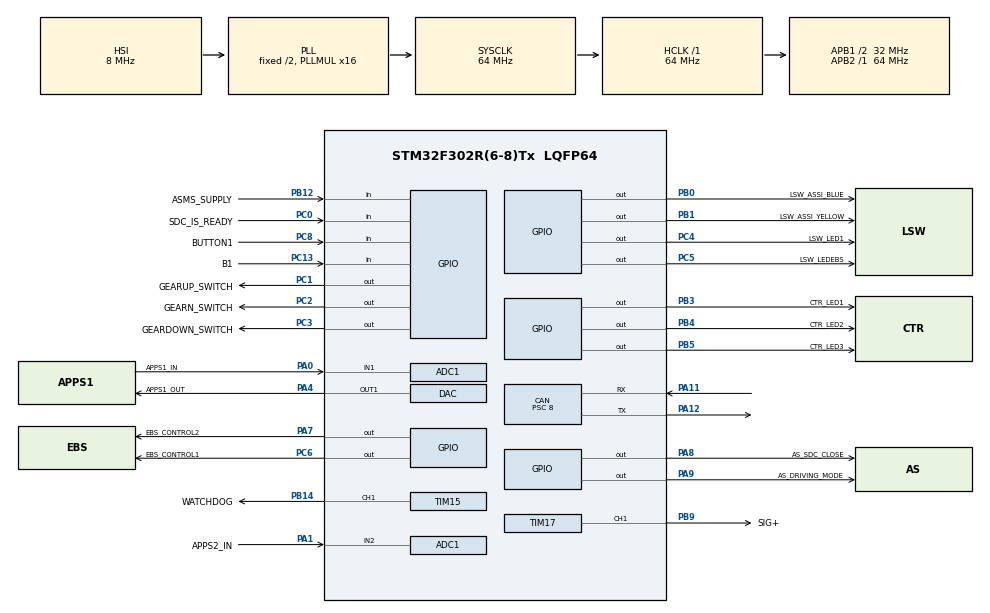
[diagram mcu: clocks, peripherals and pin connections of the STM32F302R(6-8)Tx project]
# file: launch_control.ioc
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ADC1.Channel-0\#ChannelRegularConversion=ADC_CHANNEL_1
ADC1.Channel-1\#ChannelRegularConversion=ADC_CHANNEL_2
ADC1.ContinuousConvMode=ENABLE
ADC1.DMAContinuousRequests=ENABLE
ADC1.NbrOfConversion=2
ADC1.NbrOfConversionFlag=1
ADC1.Offset-0\#ChannelRegularConversion=0
ADC1.Offset-1\#ChannelRegularConversion=0
ADC1.OffsetNumber-0\#ChannelRegularConversion=ADC_OFFSET_NONE
ADC1.OffsetNumber-1\#ChannelRegularConversion=ADC_OFFSET_NONE
ADC1.Rank-0\#ChannelRegularConversion=1
ADC1.Rank-1\#ChannelRegularConversion=2
ADC1.Resolution=ADC_RESOLUTION_12B
ADC1.SamplingTime-0\#ChannelRegularConversion=ADC_SAMPLETIME_61CYCLES_5
ADC1.SamplingTime-1\#ChannelRegularConversion=ADC_SAMPLETIME_61CYCLES_5
ADC1.SequencerNbRanks=1
ADC1.SubFamily=STM32F302x8
ADC1.master=1
CAN.BS1=CAN_BS1_2TQ
CAN.CalculateBaudRate=1000000
CAN.CalculateTimeBit=1000
CAN.CalculateTimeQuantum=250.0
CAN.Prescaler=8
DAC.DAC_Trigger=DAC_TRIGGER_T2_TRGO
Dma.ADC1.1.Direction=DMA_PERIPH_TO_MEMORY
Dma.ADC1.1.Instance=DMA1_Channel1
Dma.ADC1.1.MemDataAlignment=DMA_MDATAALIGN_WORD
Dma.ADC1.1.MemInc=DMA_MINC_ENABLE
Dma.ADC1.1.Mode=DMA_CIRCULAR
Dma.ADC1.1.PeriphDataAlignment=DMA_PDATAALIGN_WORD
Dma.ADC1.1.PeriphInc=DMA_PINC_DISABLE
Dma.ADC1.1.Priority=DMA_PRIORITY_LOW
Dma.DAC_CH1.0.Direction=DMA_MEMORY_TO_PERIPH
Dma.DAC_CH1.0.Instance=DMA1_Channel3
Dma.DAC_CH1.0.MemDataAlignment=DMA_MDATAALIGN_WORD
Dma.DAC_CH1.0.MemInc=DMA_MINC_ENABLE
Dma.DAC_CH1.0.Mode=DMA_CIRCULAR
Dma.DAC_CH1.0.PeriphDataAlignment=DMA_PDATAALIGN_WORD
Dma.DAC_CH1.0.PeriphInc=DMA_PINC_DISABLE
Dma.DAC_CH1.0.Priority=DMA_PRIORITY_LOW
Dma.Request0=DAC_CH1
Dma.Request1=ADC1
Mcu.Family=STM32F3
Mcu.Name=STM32F302R(6-8)Tx
Mcu.Package=LQFP64
NVIC.ADC1_IRQn=true\:0\:0\:false\:false\:true\:true\:true\:true
NVIC.DMA1_Channel1_IRQn=true\:0\:0\:false\:false\:true\:false\:true\:true
NVIC.DMA1_Channel3_IRQn=true\:0\:0\:false\:false\:true\:false\:true\:true
NVIC.PriorityGroup=NVIC_PRIORITYGROUP_4
PA0.GPIO_Label=APPS1_IN
PA0.Mode=IN1-Single-Ended
PA0.Signal=ADC1_IN1
PA1.GPIO_Label=APPS2_IN
PA1.Mode=IN2-Single-Ended
PA1.Signal=ADC1_IN2
PA11.GPIO_PuPd=GPIO_PULLDOWN
PA11.Mode=CAN_Activate
PA11.Signal=CAN_RX
PA12.Mode=CAN_Activate
PA12.Signal=CAN_TX
PA4.GPIO_Label=APPS1_OUT
PA4.Signal=COMP_DAC1_group
PA7.GPIO_Label=EBS_CONTROL2
PA7.Signal=GPIO_Output
PA8.GPIO_Label=AS_SDC_CLOSE
PA8.PinState=GPIO_PIN_SET
PA8.Signal=GPIO_Output
PA9.GPIO_Label=AS_DRIVING_MODE
PA9.Signal=GPIO_Output
PB0.GPIO_Label=LSW_ASSI_BLUE
PB0.GPIO_PuPd=GPIO_NOPULL
PB0.PinState=GPIO_PIN_SET
PB0.Signal=GPIO_Output
PB1.GPIO_Label=LSW_ASSI_YELLOW
PB1.GPIO_ModeDefaultOutputPP=GPIO_MODE_OUTPUT_PP
PB1.GPIO_PuPd=GPIO_NOPULL
PB1.PinState=GPIO_PIN_SET
PB1.Signal=GPIO_Output
PB12.GPIO_Label=ASMS_SUPPLY
PB12.Signal=GPIO_Input
PB14.GPIO_Label=WATCHDOG
PB14.Signal=S_TIM15_CH1
PB3.GPIO_Label=CTR_LED1
PB3.GPIO_ModeDefaultOutputPP=GPIO_MODE_OUTPUT_PP
PB3.GPIO_PuPd=GPIO_PULLDOWN
PB3.PinState=GPIO_PIN_SET
PB3.Signal=GPIO_Output
PB4.GPIO_Label=CTR_LED2
PB4.GPIO_ModeDefaultOutputPP=GPIO_MODE_OUTPUT_PP
PB4.GPIO_PuPd=GPIO_PULLDOWN
PB4.PinState=GPIO_PIN_SET
PB4.Signal=GPIO_Output
PB5.GPIO_Label=CTR_LED3
PB5.GPIO_ModeDefaultOutputPP=GPIO_MODE_OUTPUT_PP
PB5.GPIO_PuPd=GPIO_NOPULL
PB5.PinState=GPIO_PIN_SET
PB5.Signal=GPIO_Output
PB9.GPIO_Label=SIG+
PB9.Signal=S_TIM17_CH1
PC0.GPIO_Label=SDC_IS_READY
PC0.Signal=GPIO_Input
PC1.GPIO_Label=GEARUP_SWITCH
PC1.Signal=GPIO_Output
PC13.GPIO_Label=B1
PC13.GPIO_PuPd=GPIO_PULLDOWN
PC13.Signal=GPIO_Input
PC2.GPIO_Label=GEARN_SWITCH
PC2.PinState=GPIO_PIN_RESET
PC2.Signal=GPIO_Output
PC3.GPIO_Label=GEARDOWN_SWITCH
PC3.Signal=GPIO_Output
PC4.GPIO_Label=LSW_LED1
PC4.GPIO_PuPd=GPIO_PULLDOWN
PC4.Signal=GPIO_Output
PC5.GPIO_Label=LSW_LEDEBS
PC5.GPIO_PuPd=GPIO_PULLDOWN
PC5.Signal=GPIO_Output
PC6.GPIO_Label=EBS_CONTROL1
PC6.Signal=GPIO_Output
PC8.GPIO_Label=BUTTON1
PC8.Signal=GPIO_Input
ProjectManager.HeapSize=0x200
ProjectManager.StackSize=0x400
ProjectManager.TargetToolchain=STM32CubeIDE
RCC.ADC12PRES=RCC_ADC1PLLCLK_DIV64
RCC.AHBFreq_Value=64000000
RCC.APB1CLKDivider=RCC_HCLK_DIV2
RCC.APB1Freq_Value=32000000
RCC.APB1TimFreq_Value=64000000
RCC.APB2Freq_Value=64000000
RCC.APB2TimFreq_Value=64000000
RCC.CortexFreq_Value=64000000
RCC.HCLKFreq_Value=64000000
RCC.HSE_VALUE=8000000
RCC.HSI_VALUE=8000000
RCC.LSE_VALUE=32768
RCC.PLLMUL=RCC_PLL_MUL16
RCC.SYSCLKFreq_VALUE=64000000
RCC.SYSCLKSourceVirtual=RCC_SYSCLKSOURCE_PLLCLK
RCC.USBFreq_Value=64000000
SH.COMP_DAC1_group.0=DAC_OUT1,DAC_OUT1
SH.S_TIM15_CH1.0=TIM15_CH1,PWM Generation1 CH1
SH.S_TIM17_CH1.0=TIM17_CH1,PWM Generation1 CH1
TIM15.Channel-PWM\ Generation1\ CH1=TIM_CHANNEL_1
TIM15.Period=20-1
TIM15.Prescaler=64000-1
TIM15.Pulse-PWM\ Generation1\ CH1=50
TIM16.Period=50-1
TIM16.Prescaler=64000-1
TIM17.Channel=TIM_CHANNEL_1
TIM17.Period=500-1
TIM17.Prescaler=64000-1
TIM17.Pulse=50
TIM2.Period=500
TIM2.TIM_MasterOutputTrigger=TIM_TRGO_UPDATE
VP_TIM16_VS_ClockSourceINT.Mode=Enable_Timer
VP_TIM17_VS_ClockSourceINT.Mode=Enable_Timer
VP_TIM2_VS_ClockSourceINT.Mode=Internal
board=custom

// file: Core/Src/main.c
/* USER CODE BEGIN Header */
/**
  ******************************************************************************
  * @file           : main.c
  * @brief          : Main program body
  ******************************************************************************
  * @attention
  *
  * Copyright (c) 2022 STMicroelectronics.
  * All rights reserved.
  *
  * This software is licensed under terms that can be found in the LICENSE file
  * in the root directory of this software component.
  * If no LICENSE file comes with this software, it is provided AS-IS.
  *
  ******************************************************************************
  */
/* USER CODE END Header */
#include "main.h"

/* USER CODE BEGIN Includes */
#include <back.h>

#include <global_state.h>
#include <can0.h>
#include <stm_pin.h>
#include <led.h>
#include <ebs.h>
//#include "inc/axis_leds.h"

/* USER CODE END Includes */

/* USER CODE BEGIN PD */

#define EBS_TEST 0
#define ASSI_TEST 0
#define APPS_TEST 0
#define TPS_TEST 0
#define BUZZER_TEST 0

/* USER CODE END PD */

/* USER CODE BEGIN PM */
// suca
/* USER CODE END PM */

 ADC_HandleTypeDef hadc1;
DMA_HandleTypeDef hdma_adc1;

CAN_HandleTypeDef hcan;

DAC_HandleTypeDef hdac;
DMA_HandleTypeDef hdma_dac_ch1;

TIM_HandleTypeDef htim2;
TIM_HandleTypeDef htim15;
TIM_HandleTypeDef htim16;
TIM_HandleTypeDef htim17;

/* USER CODE BEGIN PV */
uint32_t appsIn[2];
uint32_t appsOut;

MmrAsState as_state = MMR_AS_OFF;
MmrEbsCheckState ebsState = EBS_CHECK_IDLE;
uint8_t TS_EBS;
//MmrEbsCheck Ebsstate = EBS_IDLE;
//MmrEbsState EBSflag = EBS_STATE_UNAVAILABLE;

bool WATCHDOG_Activation() {
  return HAL_TIM_PWM_Start(&htim15, TIM_CHANNEL_1) == HAL_OK;
}

bool WATCHDOG_Disable() {
  return HAL_TIM_PWM_Stop(&htim15, TIM_CHANNEL_1) == HAL_OK;
}

/* USER CODE END PV */

void SystemClock_Config(void);
static void MX_GPIO_Init(void);
static void MX_DMA_Init(void);
static void MX_CAN_Init(void);
static void MX_DAC_Init(void);
static void MX_TIM2_Init(void);
static void MX_ADC1_Init(void);
static void MX_TIM16_Init(void);
static void MX_TIM17_Init(void);
static void MX_TIM15_Init(void);
/* USER CODE BEGIN PFP */

void Buzzer_activation(void){
  TIM17->CCR1 = 0.5f * TIM17->ARR;
}

void Buzzer_deactivation(void){
  TIM17->CCR1 = 0.0f * TIM17->ARR;
}
/* USER CODE END PFP */

int main(void)
{

  /* MCU Configuration--------------------------------------------------------*/

  /* Reset of all peripherals, Initializes the Flash interface and the Systick. */
  HAL_Init();

  /* Configure the system clock */
  SystemClock_Config();

  /* Initialize all configured peripherals */
  MX_GPIO_Init();
  MX_DMA_Init();
  MX_CAN_Init();
  MX_DAC_Init();
  MX_TIM2_Init();
  MX_ADC1_Init();
  MX_TIM16_Init();
  MX_TIM17_Init();
  MX_TIM15_Init();
  /* USER CODE BEGIN 2 */
  /*ADC/DAC with DMA Start*/
  HAL_ADC_Start_DMA(&hadc1, appsIn, sizeof(appsIn) / sizeof(*appsIn));
  HAL_DAC_Start_DMA(&hdac, DAC_CHANNEL_1, &appsOut, 1, DAC_ALIGN_12B_R);
  HAL_TIM_Base_Start(&htim2);
  /**/

//  WATCHDOG_Activation();
  HAL_TIM_PWM_Start(&htim17, TIM_CHANNEL_1);

  TIM15->CCR1 = 0.5f * TIM15->ARR;
  TIM17->CCR1 = 0.0f;

  /* USER CODE END 2 */

  /* Infinite loop */
  /* USER CODE BEGIN WHILE */
  MmrPin gearUp = MMR_Pin(GEARUP_SWITCH_GPIO_Port, GEARUP_SWITCH_Pin, false);
  MmrPin gearN = MMR_Pin(GEARN_SWITCH_GPIO_Port, GEARN_SWITCH_Pin, false);
  MmrPin gearDown = MMR_Pin(GEARDOWN_SWITCH_GPIO_Port, GEARDOWN_SWITCH_Pin, false);
  MmrPin blueButtonPin = MMR_Pin(B1_GPIO_Port, B1_Pin, false);

  MmrPin LABpin = MMR_Pin(LSW_ASSI_BLUE_GPIO_Port, LSW_ASSI_BLUE_Pin, true);
  MmrPin LAYpin = MMR_Pin(LSW_ASSI_YELLOW_GPIO_Port,LSW_ASSI_YELLOW_Pin, true);

  MmrPin asDrivingModePin = MMR_Pin(AS_DRIVING_MODE_GPIO_Port, AS_DRIVING_MODE_Pin, false);
  MmrPin asSdcIsReadyPin = MMR_Pin(SDC_IS_READY_GPIO_Port, SDC_IS_READY_Pin, false);

  MmrPin Ebs1Pin = MMR_Pin(EBS_CONTROL1_GPIO_Port, EBS_CONTROL1_Pin, false);
  MmrPin Ebs2Pin = MMR_Pin(EBS_CONTROL2_GPIO_Port, EBS_CONTROL2_Pin, false);
  MmrPin asCloseSDCpin = MMR_Pin(AS_SDC_CLOSE_GPIO_Port, AS_SDC_CLOSE_Pin, false);
  MmrPin ebsErrorLedPin = MMR_Pin(LSW_LEDEBS_GPIO_Port, LSW_LEDEBS_Pin, true);
  MmrPin asmsErrorLedPin = MMR_Pin(LSW_LED1_GPIO_Port, LSW_LED1_Pin, true);

  MmrPin ctrLed1Pin = MMR_Pin(CTR_LED1_GPIO_Port, CTR_LED1_Pin, true);
  MmrPin ctrLed2Pin = MMR_Pin(CTR_LED2_GPIO_Port, CTR_LED2_Pin, true);
  MmrPin ctrLed3Pin = MMR_Pin(CTR_LED3_GPIO_Port, CTR_LED3_Pin, true);

  MmrPin asmsPin = MMR_Pin(ASMS_SUPPLY_GPIO_Port, ASMS_SUPPLY_Pin, true);

  MmrButton blueButton = MMR_Button(&blueButtonPin);
  MmrLed blueAxisLed = MMR_Led(&LABpin);
  MmrLed yellowAxisLed = MMR_Led(&LAYpin);
  MmrLed ebsErrorLed = MMR_Led(&ebsErrorLedPin);
  MmrLed asmsErrorLed = MMR_Led(&asmsErrorLedPin);
  MmrLed ctrLed1 = MMR_Led(&ctrLed1Pin);
  MmrLed ctrLed2 = MMR_Led(&ctrLed2Pin);
  MmrLed ctrLed3 = MMR_Led(&ctrLed3Pin);

  MMR_BACK_Init(
    &can0,
    &gearUp,
    &gearDown,
    &gearN,

    &blueButton,

    &asDrivingModePin,
    &asCloseSDCpin,
    &asSdcIsReadyPin,

    &appsOut,
    appsIn,

    Buzzer_activation,
    Buzzer_deactivation,

    &Ebs1Pin,
    &Ebs2Pin,

    &blueAxisLed,
    &yellowAxisLed,

    &ebsErrorLed,
    &asmsErrorLed,

    &ctrLed1,
    &ctrLed2,
    &ctrLed3,

    WATCHDOG_Activation,
    WATCHDOG_Disable,

    &asmsPin
  );

  MMR_GS_Init();

  if (!MMR_CAN0_Start(&hcan)) {
    Error_Handler();
  }

  MMR_SetTickProvider(HAL_GetTick);
  while (1) {
    MMR_BACK_Run();

    /* USER CODE END WHILE */

  }
}

void SystemClock_Config(void)
{
  RCC_OscInitTypeDef RCC_OscInitStruct = {0};
  RCC_ClkInitTypeDef RCC_ClkInitStruct = {0};
  RCC_PeriphCLKInitTypeDef PeriphClkInit = {0};

  /** Initializes the RCC Oscillators according to the specified parameters
  * in the RCC_OscInitTypeDef structure.
  */
  RCC_OscInitStruct.OscillatorType = RCC_OSCILLATORTYPE_HSI;
  RCC_OscInitStruct.HSIState = RCC_HSI_ON;
  RCC_OscInitStruct.HSICalibrationValue = RCC_HSICALIBRATION_DEFAULT;
  RCC_OscInitStruct.PLL.PLLState = RCC_PLL_ON;
  RCC_OscInitStruct.PLL.PLLSource = RCC_PLLSOURCE_HSI;
  RCC_OscInitStruct.PLL.PLLMUL = RCC_PLL_MUL16;
  if (HAL_RCC_OscConfig(&RCC_OscInitStruct) != HAL_OK)
  {
    Error_Handler();
  }

  /** Initializes the CPU, AHB and APB buses clocks
  */
  RCC_ClkInitStruct.ClockType = RCC_CLOCKTYPE_HCLK|RCC_CLOCKTYPE_SYSCLK
                              |RCC_CLOCKTYPE_PCLK1|RCC_CLOCKTYPE_PCLK2;
  RCC_ClkInitStruct.SYSCLKSource = RCC_SYSCLKSOURCE_PLLCLK;
  RCC_ClkInitStruct.AHBCLKDivider = RCC_SYSCLK_DIV1;
  RCC_ClkInitStruct.APB1CLKDivider = RCC_HCLK_DIV2;
  RCC_ClkInitStruct.APB2CLKDivider = RCC_HCLK_DIV1;

  if (HAL_RCC_ClockConfig(&RCC_ClkInitStruct, FLASH_LATENCY_2) != HAL_OK)
  {
    Error_Handler();
  }
  PeriphClkInit.PeriphClockSelection = RCC_PERIPHCLK_TIM15|RCC_PERIPHCLK_TIM16
                              |RCC_PERIPHCLK_TIM17|RCC_PERIPHCLK_ADC1;
  PeriphClkInit.Tim15ClockSelection = RCC_TIM15CLK_HCLK;
  PeriphClkInit.Tim16ClockSelection = RCC_TIM16CLK_HCLK;
  PeriphClkInit.Tim17ClockSelection = RCC_TIM17CLK_HCLK;
  PeriphClkInit.Adc1ClockSelection = RCC_ADC1PLLCLK_DIV64;

  if (HAL_RCCEx_PeriphCLKConfig(&PeriphClkInit) != HAL_OK)
  {
    Error_Handler();
  }
}

static void MX_ADC1_Init(void)
{

  ADC_ChannelConfTypeDef sConfig = {0};

  /** Common config
  */
  hadc1.Instance = ADC1;
  hadc1.Init.ClockPrescaler = ADC_CLOCK_ASYNC_DIV1;
  hadc1.Init.Resolution = ADC_RESOLUTION_12B;
  hadc1.Init.ScanConvMode = ADC_SCAN_ENABLE;
  hadc1.Init.ContinuousConvMode = ENABLE;
  hadc1.Init.DiscontinuousConvMode = DISABLE;
  hadc1.Init.ExternalTrigConvEdge = ADC_EXTERNALTRIGCONVEDGE_NONE;
  hadc1.Init.ExternalTrigConv = ADC_SOFTWARE_START;
  hadc1.Init.DataAlign = ADC_DATAALIGN_RIGHT;
  hadc1.Init.NbrOfConversion = 2;
  hadc1.Init.DMAContinuousRequests = ENABLE;
  hadc1.Init.EOCSelection = ADC_EOC_SINGLE_CONV;
  hadc1.Init.LowPowerAutoWait = DISABLE;
  hadc1.Init.Overrun = ADC_OVR_DATA_OVERWRITTEN;
  if (HAL_ADC_Init(&hadc1) != HAL_OK)
  {
    Error_Handler();
  }

  /** Configure Regular Channel
  */
  sConfig.Channel = ADC_CHANNEL_1;
  sConfig.Rank = ADC_REGULAR_RANK_1;
  sConfig.SingleDiff = ADC_SINGLE_ENDED;
  sConfig.SamplingTime = ADC_SAMPLETIME_61CYCLES_5;
  sConfig.OffsetNumber = ADC_OFFSET_NONE;
  sConfig.Offset = 0;
  if (HAL_ADC_ConfigChannel(&hadc1, &sConfig) != HAL_OK)
  {
    Error_Handler();
  }

  /** Configure Regular Channel
  */
  sConfig.Channel = ADC_CHANNEL_2;
  sConfig.Rank = ADC_REGULAR_RANK_2;
  if (HAL_ADC_ConfigChannel(&hadc1, &sConfig) != HAL_OK)
  {
    Error_Handler();
  }

}

static void MX_CAN_Init(void)
{

  hcan.Instance = CAN;
  hcan.Init.Prescaler = 8;
  hcan.Init.Mode = CAN_MODE_NORMAL;
  hcan.Init.SyncJumpWidth = CAN_SJW_1TQ;
  hcan.Init.TimeSeg1 = CAN_BS1_2TQ;
  hcan.Init.TimeSeg2 = CAN_BS2_1TQ;
  hcan.Init.TimeTriggeredMode = DISABLE;
  hcan.Init.AutoBusOff = DISABLE;
  hcan.Init.AutoWakeUp = DISABLE;
  hcan.Init.AutoRetransmission = DISABLE;
  hcan.Init.ReceiveFifoLocked = DISABLE;
  hcan.Init.TransmitFifoPriority = DISABLE;
  if (HAL_CAN_Init(&hcan) != HAL_OK)
  {
    Error_Handler();
  }

}

static void MX_DAC_Init(void)
{

  DAC_ChannelConfTypeDef sConfig = {0};

  /** DAC Initialization
  */
  hdac.Instance = DAC;
  if (HAL_DAC_Init(&hdac) != HAL_OK)
  {
    Error_Handler();
  }

  /** DAC channel OUT1 config
  */
  sConfig.DAC_Trigger = DAC_TRIGGER_T2_TRGO;
  sConfig.DAC_OutputBuffer = DAC_OUTPUTBUFFER_ENABLE;
  if (HAL_DAC_ConfigChannel(&hdac, &sConfig, DAC_CHANNEL_1) != HAL_OK)
  {
    Error_Handler();
  }

}

static void MX_TIM2_Init(void)
{

  TIM_ClockConfigTypeDef sClockSourceConfig = {0};
  TIM_MasterConfigTypeDef sMasterConfig = {0};

  htim2.Instance = TIM2;
  htim2.Init.Prescaler = 0;
  htim2.Init.CounterMode = TIM_COUNTERMODE_UP;
  htim2.Init.Period = 500;
  htim2.Init.ClockDivision = TIM_CLOCKDIVISION_DIV1;
  htim2.Init.AutoReloadPreload = TIM_AUTORELOAD_PRELOAD_DISABLE;
  if (HAL_TIM_Base_Init(&htim2) != HAL_OK)
  {
    Error_Handler();
  }
  sClockSourceConfig.ClockSource = TIM_CLOCKSOURCE_INTERNAL;
  if (HAL_TIM_ConfigClockSource(&htim2, &sClockSourceConfig) != HAL_OK)
  {
    Error_Handler();
  }
  sMasterConfig.MasterOutputTrigger = TIM_TRGO_UPDATE;
  sMasterConfig.MasterSlaveMode = TIM_MASTERSLAVEMODE_DISABLE;
  if (HAL_TIMEx_MasterConfigSynchronization(&htim2, &sMasterConfig) != HAL_OK)
  {
    Error_Handler();
  }

}

static void MX_TIM15_Init(void)
{

  TIM_MasterConfigTypeDef sMasterConfig = {0};
  TIM_OC_InitTypeDef sConfigOC = {0};
  TIM_BreakDeadTimeConfigTypeDef sBreakDeadTimeConfig = {0};

  htim15.Instance = TIM15;
  htim15.Init.Prescaler = 64000-1;
  htim15.Init.CounterMode = TIM_COUNTERMODE_UP;
  htim15.Init.Period = 20-1;
  htim15.Init.ClockDivision = TIM_CLOCKDIVISION_DIV1;
  htim15.Init.RepetitionCounter = 0;
  htim15.Init.AutoReloadPreload = TIM_AUTORELOAD_PRELOAD_DISABLE;
  if (HAL_TIM_PWM_Init(&htim15) != HAL_OK)
  {
    Error_Handler();
  }
  sMasterConfig.MasterOutputTrigger = TIM_TRGO_RESET;
  sMasterConfig.MasterSlaveMode = TIM_MASTERSLAVEMODE_DISABLE;
  if (HAL_TIMEx_MasterConfigSynchronization(&htim15, &sMasterConfig) != HAL_OK)
  {
    Error_Handler();
  }
  sConfigOC.OCMode = TIM_OCMODE_PWM1;
  sConfigOC.Pulse = 50;
  sConfigOC.OCPolarity = TIM_OCPOLARITY_HIGH;
  sConfigOC.OCNPolarity = TIM_OCNPOLARITY_HIGH;
  sConfigOC.OCFastMode = TIM_OCFAST_DISABLE;
  sConfigOC.OCIdleState = TIM_OCIDLESTATE_RESET;
  sConfigOC.OCNIdleState = TIM_OCNIDLESTATE_RESET;
  if (HAL_TIM_PWM_ConfigChannel(&htim15, &sConfigOC, TIM_CHANNEL_1) != HAL_OK)
  {
    Error_Handler();
  }
  sBreakDeadTimeConfig.OffStateRunMode = TIM_OSSR_DISABLE;
  sBreakDeadTimeConfig.OffStateIDLEMode = TIM_OSSI_DISABLE;
  sBreakDeadTimeConfig.LockLevel = TIM_LOCKLEVEL_OFF;
  sBreakDeadTimeConfig.DeadTime = 0;
  sBreakDeadTimeConfig.BreakState = TIM_BREAK_DISABLE;
  sBreakDeadTimeConfig.BreakPolarity = TIM_BREAKPOLARITY_HIGH;
  sBreakDeadTimeConfig.BreakFilter = 0;
  sBreakDeadTimeConfig.AutomaticOutput = TIM_AUTOMATICOUTPUT_DISABLE;
  if (HAL_TIMEx_ConfigBreakDeadTime(&htim15, &sBreakDeadTimeConfig) != HAL_OK)
  {
    Error_Handler();
  }
  HAL_TIM_MspPostInit(&htim15);

}

static void MX_TIM16_Init(void)
{

  htim16.Instance = TIM16;
  htim16.Init.Prescaler = 64000-1;
  htim16.Init.CounterMode = TIM_COUNTERMODE_UP;
  htim16.Init.Period = 50-1;
  htim16.Init.ClockDivision = TIM_CLOCKDIVISION_DIV1;
  htim16.Init.RepetitionCounter = 0;
  htim16.Init.AutoReloadPreload = TIM_AUTORELOAD_PRELOAD_DISABLE;
  if (HAL_TIM_Base_Init(&htim16) != HAL_OK)
  {
    Error_Handler();
  }

}

static void MX_TIM17_Init(void)
{

  TIM_OC_InitTypeDef sConfigOC = {0};
  TIM_BreakDeadTimeConfigTypeDef sBreakDeadTimeConfig = {0};

  htim17.Instance = TIM17;
  htim17.Init.Prescaler = 64000-1;
  htim17.Init.CounterMode = TIM_COUNTERMODE_UP;
  htim17.Init.Period = 500-1;
  htim17.Init.ClockDivision = TIM_CLOCKDIVISION_DIV1;
  htim17.Init.RepetitionCounter = 0;
  htim17.Init.AutoReloadPreload = TIM_AUTORELOAD_PRELOAD_DISABLE;
  if (HAL_TIM_Base_Init(&htim17) != HAL_OK)
  {
    Error_Handler();
  }
  if (HAL_TIM_PWM_Init(&htim17) != HAL_OK)
  {
    Error_Handler();
  }
  sConfigOC.OCMode = TIM_OCMODE_PWM1;
  sConfigOC.Pulse = 50;
  sConfigOC.OCPolarity = TIM_OCPOLARITY_HIGH;
  sConfigOC.OCNPolarity = TIM_OCNPOLARITY_HIGH;
  sConfigOC.OCFastMode = TIM_OCFAST_DISABLE;
  sConfigOC.OCIdleState = TIM_OCIDLESTATE_RESET;
  sConfigOC.OCNIdleState = TIM_OCNIDLESTATE_RESET;
  if (HAL_TIM_PWM_ConfigChannel(&htim17, &sConfigOC, TIM_CHANNEL_1) != HAL_OK)
  {
    Error_Handler();
  }
  sBreakDeadTimeConfig.OffStateRunMode = TIM_OSSR_DISABLE;
  sBreakDeadTimeConfig.OffStateIDLEMode = TIM_OSSI_DISABLE;
  sBreakDeadTimeConfig.LockLevel = TIM_LOCKLEVEL_OFF;
  sBreakDeadTimeConfig.DeadTime = 0;
  sBreakDeadTimeConfig.BreakState = TIM_BREAK_DISABLE;
  sBreakDeadTimeConfig.BreakPolarity = TIM_BREAKPOLARITY_HIGH;
  sBreakDeadTimeConfig.BreakFilter = 0;
  sBreakDeadTimeConfig.AutomaticOutput = TIM_AUTOMATICOUTPUT_DISABLE;
  if (HAL_TIMEx_ConfigBreakDeadTime(&htim17, &sBreakDeadTimeConfig) != HAL_OK)
  {
    Error_Handler();
  }
  HAL_TIM_MspPostInit(&htim17);

}

static void MX_DMA_Init(void)
{

  /* DMA controller clock enable */
  __HAL_RCC_DMA1_CLK_ENABLE();

  /* DMA interrupt init */
  /* DMA1_Channel1_IRQn interrupt configuration */
  HAL_NVIC_SetPriority(DMA1_Channel1_IRQn, 0, 0);
  HAL_NVIC_EnableIRQ(DMA1_Channel1_IRQn);
  /* DMA1_Channel3_IRQn interrupt configuration */
  HAL_NVIC_SetPriority(DMA1_Channel3_IRQn, 0, 0);
  HAL_NVIC_EnableIRQ(DMA1_Channel3_IRQn);

}

static void MX_GPIO_Init(void)
{
  GPIO_InitTypeDef GPIO_InitStruct = {0};

  /* GPIO Ports Clock Enable */
  __HAL_RCC_GPIOC_CLK_ENABLE();
  __HAL_RCC_GPIOA_CLK_ENABLE();
  __HAL_RCC_GPIOB_CLK_ENABLE();

  /*Configure GPIO pin Output Level */
  HAL_GPIO_WritePin(GPIOC, GEARUP_SWITCH_Pin|GEARN_SWITCH_Pin|GEARDOWN_SWITCH_Pin|LSW_LED1_Pin
                          |LSW_LEDEBS_Pin|EBS_CONTROL1_Pin, GPIO_PIN_RESET);

  /*Configure GPIO pin Output Level */
  HAL_GPIO_WritePin(GPIOA, EBS_CONTROL2_Pin|AS_DRIVING_MODE_Pin, GPIO_PIN_RESET);

  /*Configure GPIO pin Output Level */
  HAL_GPIO_WritePin(GPIOB, LSW_ASSI_BLUE_Pin|LSW_ASSI_YELLOW_Pin|CTR_LED1_Pin|CTR_LED2_Pin
                          |CTR_LED3_Pin, GPIO_PIN_SET);

  /*Configure GPIO pin Output Level */
  HAL_GPIO_WritePin(AS_SDC_CLOSE_GPIO_Port, AS_SDC_CLOSE_Pin, GPIO_PIN_SET);

  /*Configure GPIO pin : B1_Pin */
  GPIO_InitStruct.Pin = B1_Pin;
  GPIO_InitStruct.Mode = GPIO_MODE_INPUT;
  GPIO_InitStruct.Pull = GPIO_PULLDOWN;
  HAL_GPIO_Init(B1_GPIO_Port, &GPIO_InitStruct);

  /*Configure GPIO pins : SDC_IS_READY_Pin BUTTON1_Pin */
  GPIO_InitStruct.Pin = SDC_IS_READY_Pin|BUTTON1_Pin;
  GPIO_InitStruct.Mode = GPIO_MODE_INPUT;
  GPIO_InitStruct.Pull = GPIO_NOPULL;
  HAL_GPIO_Init(GPIOC, &GPIO_InitStruct);

  /*Configure GPIO pins : GEARUP_SWITCH_Pin GEARN_SWITCH_Pin GEARDOWN_SWITCH_Pin EBS_CONTROL1_Pin */
  GPIO_InitStruct.Pin = GEARUP_SWITCH_Pin|GEARN_SWITCH_Pin|GEARDOWN_SWITCH_Pin|EBS_CONTROL1_Pin;
  GPIO_InitStruct.Mode = GPIO_MODE_OUTPUT_PP;
  GPIO_InitStruct.Pull = GPIO_NOPULL;
  GPIO_InitStruct.Speed = GPIO_SPEED_FREQ_LOW;
  HAL_GPIO_Init(GPIOC, &GPIO_InitStruct);

  /*Configure GPIO pins : EBS_CONTROL2_Pin AS_SDC_CLOSE_Pin AS_DRIVING_MODE_Pin */
  GPIO_InitStruct.Pin = EBS_CONTROL2_Pin|AS_SDC_CLOSE_Pin|AS_DRIVING_MODE_Pin;
  GPIO_InitStruct.Mode = GPIO_MODE_OUTPUT_PP;
  GPIO_InitStruct.Pull = GPIO_NOPULL;
  GPIO_InitStruct.Speed = GPIO_SPEED_FREQ_LOW;
  HAL_GPIO_Init(GPIOA, &GPIO_InitStruct);

  /*Configure GPIO pins : LSW_LED1_Pin LSW_LEDEBS_Pin */
  GPIO_InitStruct.Pin = LSW_LED1_Pin|LSW_LEDEBS_Pin;
  GPIO_InitStruct.Mode = GPIO_MODE_OUTPUT_PP;
  GPIO_InitStruct.Pull = GPIO_PULLDOWN;
  GPIO_InitStruct.Speed = GPIO_SPEED_FREQ_LOW;
  HAL_GPIO_Init(GPIOC, &GPIO_InitStruct);

  /*Configure GPIO pins : LSW_ASSI_BLUE_Pin LSW_ASSI_YELLOW_Pin CTR_LED3_Pin */
  GPIO_InitStruct.Pin = LSW_ASSI_BLUE_Pin|LSW_ASSI_YELLOW_Pin|CTR_LED3_Pin;
  GPIO_InitStruct.Mode = GPIO_MODE_OUTPUT_PP;
  GPIO_InitStruct.Pull = GPIO_NOPULL;
  GPIO_InitStruct.Speed = GPIO_SPEED_FREQ_LOW;
  HAL_GPIO_Init(GPIOB, &GPIO_InitStruct);

  /*Configure GPIO pin : ASMS_SUPPLY_Pin */
  GPIO_InitStruct.Pin = ASMS_SUPPLY_Pin;
  GPIO_InitStruct.Mode = GPIO_MODE_INPUT;
  GPIO_InitStruct.Pull = GPIO_NOPULL;
  HAL_GPIO_Init(ASMS_SUPPLY_GPIO_Port, &GPIO_InitStruct);

  /*Configure GPIO pins : CTR_LED1_Pin CTR_LED2_Pin */
  GPIO_InitStruct.Pin = CTR_LED1_Pin|CTR_LED2_Pin;
  GPIO_InitStruct.Mode = GPIO_MODE_OUTPUT_PP;
  GPIO_InitStruct.Pull = GPIO_PULLDOWN;
  GPIO_InitStruct.Speed = GPIO_SPEED_FREQ_LOW;
  HAL_GPIO_Init(GPIOB, &GPIO_InitStruct);

}

void Error_Handler(void)
{
  __disable_irq();
  while (1)
  {
  }
}
